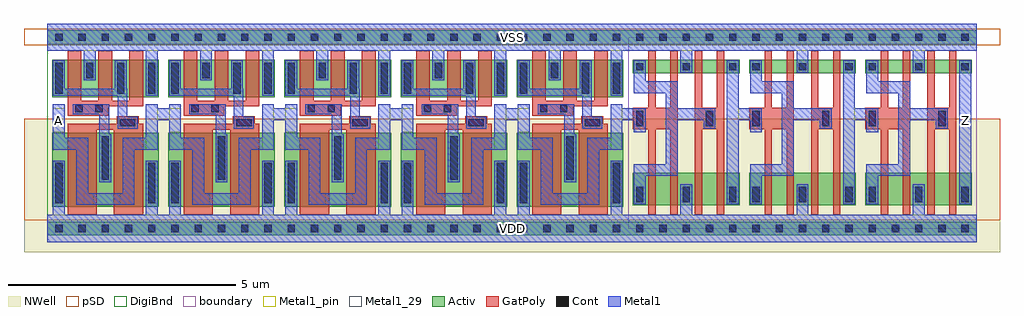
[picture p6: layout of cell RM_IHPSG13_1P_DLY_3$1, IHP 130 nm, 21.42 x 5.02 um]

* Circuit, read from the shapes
.subckt RM_IHPSG13_1P_DLY_3$1 A VDD VSS Z
XM1 VSS n1 n2 VSS sg13_lv_nmos w=0.83u l=0.3u m=3
XM2 VSS n3 n4 VSS sg13_lv_nmos w=0.83u l=0.3u m=3
XM3 VSS n5 n6 VSS sg13_lv_nmos w=0.83u l=0.3u m=3
XM4 VSS n7 n8 VSS sg13_lv_nmos w=0.83u l=0.3u m=3
XM5 VSS n9 n10 VSS sg13_lv_nmos w=0.83u l=0.3u m=3
XM6 n11 A n12 VSS sg13_lv_nmos w=0.3u l=0.16u
XM7 VSS A n11 VSS sg13_lv_nmos w=0.3u l=0.16u
XM8 n13 n12 VSS VSS sg13_lv_nmos w=0.3u l=0.16u
XM9 RSC_IHPSG13_CDLYX1$1_6/A n12 n13 VSS sg13_lv_nmos w=0.3u l=0.16u
XM10 n14 RSC_IHPSG13_CDLYX1$1_6/A n15 VSS sg13_lv_nmos w=0.3u l=0.16u
XM11 VSS RSC_IHPSG13_CDLYX1$1_6/A n14 VSS sg13_lv_nmos w=0.3u l=0.16u
XM12 n16 n15 VSS VSS sg13_lv_nmos w=0.3u l=0.16u
XM13 RSC_IHPSG13_CDLYX1$1_5/A n15 n16 VSS sg13_lv_nmos w=0.3u l=0.16u
XM14 n17 RSC_IHPSG13_CDLYX1$1_5/A n18 VSS sg13_lv_nmos w=0.3u l=0.16u
XM15 VSS RSC_IHPSG13_CDLYX1$1_5/A n17 VSS sg13_lv_nmos w=0.3u l=0.16u
XM16 n19 n18 VSS VSS sg13_lv_nmos w=0.3u l=0.16u
XM17 Z n18 n19 VSS sg13_lv_nmos w=0.3u l=0.16u
XM18 n1 n2 VDD VDD sg13_lv_pmos w=1.62u l=0.64u m=2
XM19 n3 n4 VDD VDD sg13_lv_pmos w=1.62u l=0.64u m=2
XM20 n5 n6 VDD VDD sg13_lv_pmos w=1.62u l=0.64u m=2
XM21 n7 n8 VDD VDD sg13_lv_pmos w=1.62u l=0.64u m=2
XM22 n9 n10 VDD VDD sg13_lv_pmos w=1.62u l=0.64u m=2
XM23 n20 A n12 VDD sg13_lv_pmos w=0.72u l=0.16u
XM24 VDD A n20 VDD sg13_lv_pmos w=0.72u l=0.16u
XM25 n21 n12 VDD VDD sg13_lv_pmos w=0.72u l=0.16u
XM26 RSC_IHPSG13_CDLYX1$1_6/A n12 n21 VDD sg13_lv_pmos w=0.72u l=0.16u
XM27 n22 RSC_IHPSG13_CDLYX1$1_6/A n15 VDD sg13_lv_pmos w=0.72u l=0.16u
XM28 VDD RSC_IHPSG13_CDLYX1$1_6/A n22 VDD sg13_lv_pmos w=0.72u l=0.16u
XM29 n23 n15 VDD VDD sg13_lv_pmos w=0.72u l=0.16u
XM30 RSC_IHPSG13_CDLYX1$1_5/A n15 n23 VDD sg13_lv_pmos w=0.72u l=0.16u
XM31 n24 RSC_IHPSG13_CDLYX1$1_5/A n18 VDD sg13_lv_pmos w=0.72u l=0.16u
XM32 VDD RSC_IHPSG13_CDLYX1$1_5/A n24 VDD sg13_lv_pmos w=0.72u l=0.16u
XM33 n25 n18 VDD VDD sg13_lv_pmos w=0.72u l=0.16u
XM34 Z n18 n25 VDD sg13_lv_pmos w=0.72u l=0.16u
.ends

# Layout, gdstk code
from math import pi, radians
import gdstk
lib = gdstk.Library(unit=1e-6, precision=1e-09)
def R(c, l, rs):  # rectangles x0, y0, x1, y1
    for r in rs: c.add(gdstk.rectangle(r[:2], r[2:], *l))
def A(c, l, x, y, w, h, nx, ny, dx, dy):  # array of equal rectangles
    R(c, l, [(x+i*dx, y+j*dy, x+i*dx+w, y+j*dy+h) for i in range(nx) for j in range(ny)])
def P(c, l, *ps):  # polygons
    for p in ps: c.add(gdstk.Polygon(p, *l))
Activ = (1, 0)
GatPoly = (5, 0)
Cont = (6, 0)
Metal1 = (8, 0)
Metal1_pin = (8, 2)
Metal1_29 = (8, 29)
pSD = (14, 0)
DigiBnd = (16, 0)
NWell = (31, 0)
boundary = (189, 4)

lvsres_db_0x04007e9a_1 = lib.new_cell('lvsres_db_0x04007e9a$1')
R(lvsres_db_0x04007e9a_1, Metal1, [(-0.5,0,0.5,0.26)])
R(lvsres_db_0x04007e9a_1, Metal1_pin, [(-0.5,0,-0.3,0.26), (0.3,0,0.5,0.26)])
R(lvsres_db_0x04007e9a_1, Metal1_29, [(-0.3,0,0.3,0.26)])
lvsres_db_0x04007e9a_1.add(gdstk.Label('PLUS', (-0.4,0.13), layer=63, texttype=0))
lvsres_db_0x04007e9a_1.add(gdstk.Label('MINUS', (0.4,0.13), layer=63, texttype=0))

rsc_ihpsg13_cdlyx1_dummy = lib.new_cell('RSC_IHPSG13_CDLYX1_DUMMY$1')
R(rsc_ihpsg13_cdlyx1_dummy, Activ, [(0,-0.15,2.55,0.15), (0.105,0.49,2.445,1.32), (0.105,2.1,2.445,3.72), (0,4.05,2.55,4.35)])
P(rsc_ihpsg13_cdlyx1_dummy, GatPoly, [(1.525,1.73),(1.525,1.9),(0.445,1.9),(0.445,3.9),(1.085,3.9),(1.085,2.03),(1.465,2.03),(1.465,3.9),(2.105,3.9),(2.105,1.9),(2.005,1.9),(2.005,1.73)],
  [(0.445,0.3),(0.445,1.72),(1.34,1.72),(1.34,1.52),(2.105,1.52),(2.105,0.3),(1.805,0.3),(1.805,1.39),(1.425,1.39),(1.425,0.3),(1.125,0.3),(1.125,1.39),(0.745,1.39),(0.745,0.3)])
A(rsc_ihpsg13_cdlyx1_dummy, Cont, 0.175, -0.08, 0.16, 0.16, 5, 2, 0.51, 4.2)
R(rsc_ihpsg13_cdlyx1_dummy, Cont, [(0.175,0.56,0.335,1.24), (0.855,0.56,1.015,0.9), (1.535,0.56,1.695,1.24), (2.215,0.56,2.375,1.24), (0.615,1.49,0.775,1.65), (1.055,1.49,1.215,1.65), (1.595,1.8,1.935,1.96), (1.195,2.175,1.355,3.13), (0.175,2.76,0.335,3.65), (2.215,2.76,2.375,3.65)])
R(rsc_ihpsg13_cdlyx1_dummy, Metal1, [(0.125,1.47,0.385,2.465), (2.165,1.47,2.425,2.465), (0.125,2.205,0.895,2.465), (0.635,2.205,0.895,3.68), (1.655,2.205,1.915,3.68), (1.655,2.205,2.425,2.465), (0.635,3.42,1.915,3.68)])
P(rsc_ihpsg13_cdlyx1_dummy, Metal1, [(0,-0.3),(0,0.3),(0.805,0.3),(0.805,0.95),(1.065,0.95),(1.065,0.3),(2.165,0.3),(2.165,1.29),(2.425,1.29),(2.425,0.3),(2.55,0.3),(2.55,-0.3)],
  [(0.125,2.71),(0.125,3.9),(0,3.9),(0,4.5),(2.55,4.5),(2.55,3.9),(2.425,3.9),(2.425,2.71),(2.165,2.71),(2.165,3.9),(0.385,3.9),(0.385,2.71)],
  [(0.565,1.47),(0.565,1.69),(1.145,1.69),(1.145,3.18),(1.405,3.18),(1.405,2.125),(1.365,2.125),(1.365,1.47)],
  [(0.125,0.51),(0.125,1.29),(1.545,1.29),(1.545,2.01),(1.985,2.01),(1.985,1.75),(1.755,1.75),(1.755,1.13),(1.745,1.13),(1.745,0.51),(1.485,0.51),(1.485,1.13),(0.385,1.13),(0.385,0.51)])
R(rsc_ihpsg13_cdlyx1_dummy, Metal1_pin, [(0,-0.3,2.55,0.3), (2.165,1.47,2.425,2.465), (0.125,1.56,0.385,2.09), (0,3.9,2.55,4.5)])
R(rsc_ihpsg13_cdlyx1_dummy, pSD, [(-0.51,-0.18,3.06,0.18), (-0.51,1.785,3.06,4.02)])
R(rsc_ihpsg13_cdlyx1_dummy, DigiBnd, [(0,-0.3,2.55,4.5)])
R(rsc_ihpsg13_cdlyx1_dummy, NWell, [(-0.51,1.785,3.06,4.725)])
rsc_ihpsg13_cdlyx1_dummy.add(gdstk.Reference(lvsres_db_0x04007e9a_1, (1.305,3.68), rotation=pi))
rsc_ihpsg13_cdlyx1_dummy.add(gdstk.Label('VSS!', (1.155,0.005), layer=8, texttype=2))
rsc_ihpsg13_cdlyx1_dummy.add(gdstk.Label('VDD!', (0.84,4.2), layer=8, texttype=2))
rsc_ihpsg13_cdlyx1_dummy.add(gdstk.Label('Z', (2.3,1.755), layer=8, texttype=25))
rsc_ihpsg13_cdlyx1_dummy.add(gdstk.Label('A', (0.265,1.785), layer=8, texttype=25))

rsc_ihpsg13_cdlyx1_1 = lib.new_cell('RSC_IHPSG13_CDLYX1$1')
R(rsc_ihpsg13_cdlyx1_1, Activ, [(0,-0.15,2.55,0.15), (0.105,0.49,2.445,0.79), (0.105,2.97,2.445,3.69), (0,4.05,2.55,4.35)])
P(rsc_ihpsg13_cdlyx1_1, GatPoly, [(0.445,0.3),(0.445,1.545),(0.105,1.545),(0.105,2.025),(0.445,2.025),(0.445,3.9),(0.605,3.9),(0.605,2.025),(0.925,2.025),(0.925,3.9),(1.085,3.9),(1.085,0.3),(0.925,0.3),(0.925,1.545),(0.605,1.545),(0.605,0.3)],
  [(1.465,0.3),(1.465,3.9),(1.625,3.9),(1.625,2.025),(1.945,2.025),(1.945,3.9),(2.105,3.9),(2.105,0.3),(1.945,0.3),(1.945,1.545),(1.625,1.545),(1.625,0.3)])
A(rsc_ihpsg13_cdlyx1_1, Cont, 0.175, -0.08, 0.16, 0.16, 5, 2, 0.51, 4.2)
A(rsc_ihpsg13_cdlyx1_1, Cont, 0.175, 0.57, 0.16, 0.16, 3, 1, 1.02, 0)
A(rsc_ihpsg13_cdlyx1_1, Cont, 0.175, 3.28, 0.16, 0.34, 3, 1, 1.02, 0)
R(rsc_ihpsg13_cdlyx1_1, Cont, [(0.175,1.615,0.335,1.955), (1.705,1.615,1.865,1.955)])
R(rsc_ihpsg13_cdlyx1_1, Metal1, [(0,-0.3,2.55,0.3), (1.145,0.3,1.405,0.78), (2.165,0.51,2.425,3.67), (0.125,1.56,0.385,2.09)])
P(rsc_ihpsg13_cdlyx1_1, Metal1, [(1.145,3.23),(1.145,3.9),(0,3.9),(0,4.5),(2.55,4.5),(2.55,3.9),(1.405,3.9),(1.405,3.23)],
  [(0.125,0.51),(0.125,1.23),(0.825,1.23),(0.825,2.79),(0.125,2.79),(0.125,3.67),(0.385,3.67),(0.385,3.04),(1.085,3.04),(1.085,1.82),(1.655,1.82),(1.655,2.005),(1.915,2.005),(1.915,1.56),(1.085,1.56),(1.085,0.97),(0.385,0.97),(0.385,0.51)])
R(rsc_ihpsg13_cdlyx1_1, Metal1_pin, [(0,-0.3,2.55,0.3), (2.165,0.51,2.425,3.67), (0.125,1.56,0.385,2.09), (0,3.9,2.55,4.5)])
R(rsc_ihpsg13_cdlyx1_1, pSD, [(-0.51,-0.18,3.06,0.18), (-0.51,1.785,3.06,4.02)])
R(rsc_ihpsg13_cdlyx1_1, DigiBnd, [(0,-0.3,2.55,4.5)])
R(rsc_ihpsg13_cdlyx1_1, NWell, [(-0.51,1.785,3.06,4.725)])
R(rsc_ihpsg13_cdlyx1_1, boundary, [(0,0,2.55,4.2)])
rsc_ihpsg13_cdlyx1_1.add(gdstk.Label('Z', (2.3,1.755), layer=8, texttype=25))
rsc_ihpsg13_cdlyx1_1.add(gdstk.Label('VSS!', (0.465,0), layer=8, texttype=25))
rsc_ihpsg13_cdlyx1_1.add(gdstk.Label('A', (0.265,1.785), layer=8, texttype=25))
rsc_ihpsg13_cdlyx1_1.add(gdstk.Label('VDD!', (0.51,4.2), layer=8, texttype=25))

rm_ihpsg13_1p_dly_3_1 = lib.new_cell('RM_IHPSG13_1P_DLY_3$1')
A(rm_ihpsg13_1p_dly_3_1, Metal1, 2.425, 2.38, 0.25, 0.26, 7, 1, 2.55, 0)
R(rm_ihpsg13_1p_dly_3_1, Metal1_pin, [(0,-0.3,20.4,0.3), (0.125,2.11,0.385,2.64), (20.015,2.11,20.275,2.64), (0,3.9,20.4,4.5)])
rm_ihpsg13_1p_dly_3_1.add(gdstk.Reference(rsc_ihpsg13_cdlyx1_dummy, (10.2,4.2), x_reflection=True))
rm_ihpsg13_1p_dly_3_1.add(gdstk.Reference(rsc_ihpsg13_cdlyx1_dummy, (7.65,4.2), x_reflection=True))
rm_ihpsg13_1p_dly_3_1.add(gdstk.Reference(rsc_ihpsg13_cdlyx1_dummy, (5.1,4.2), x_reflection=True))
rm_ihpsg13_1p_dly_3_1.add(gdstk.Reference(rsc_ihpsg13_cdlyx1_dummy, (2.55,4.2), x_reflection=True))
rm_ihpsg13_1p_dly_3_1.add(gdstk.Reference(rsc_ihpsg13_cdlyx1_dummy, (0,4.2), x_reflection=True))
rm_ihpsg13_1p_dly_3_1.add(gdstk.Reference(rsc_ihpsg13_cdlyx1_1, (17.85,4.2), x_reflection=True))
rm_ihpsg13_1p_dly_3_1.add(gdstk.Reference(rsc_ihpsg13_cdlyx1_1, (15.3,4.2), x_reflection=True))
rm_ihpsg13_1p_dly_3_1.add(gdstk.Reference(rsc_ihpsg13_cdlyx1_1, (12.75,4.2), x_reflection=True))
rm_ihpsg13_1p_dly_3_1.add(gdstk.Label('Z', (20.145,2.375), layer=8, texttype=25))
rm_ihpsg13_1p_dly_3_1.add(gdstk.Label('A', (0.255,2.375), layer=8, texttype=25))
rm_ihpsg13_1p_dly_3_1.add(gdstk.Label('VSS', (10.2,4.2), layer=8, texttype=25))
rm_ihpsg13_1p_dly_3_1.add(gdstk.Label('VDD', (10.2,0), layer=8, texttype=25))

lib.write_gds('RM_IHPSG13_1P_DLY_3_1.gds')
